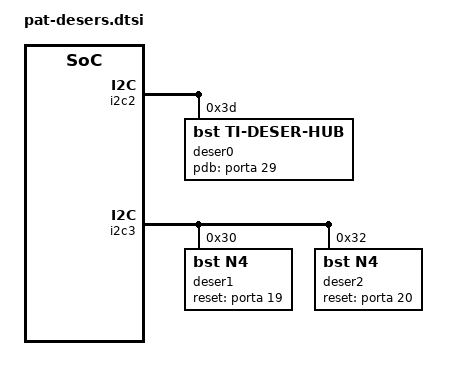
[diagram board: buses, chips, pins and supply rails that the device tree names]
/*
   default deser config for pat
   deser0@i2c2 0x3d:    ti954
   deser1@i2c3 0x30:    ncn4
   deser2@i2c3 0x32:    ncn4
*/

&i2c2 {
    #address-cells = <1>;
    #size-cells = <0>;

    deser0: ti954@3d {
        compatible = "bst,ti-deser-hub";
        type = "ti954";
        reg = <0x3d>;
        lane-speed = <1600>;
        pdb-gpio = <&porta 29 0>;
    };
};

&i2c3 {
    #address-cells = <1>;
    #size-cells = <0>;

    deser1: ncn4@30 {
        compatible = "bst,n4";
        reg = <0x30>;
        reset-gpio = <&porta 19 0>;
    };

    deser2: ncn4@32 {
        compatible = "bst,n4";
        reg = <0x32>;
        reset-gpio = <&porta 20 0>;
    };
};

#include "../common/a1000b-deser.dtsi"
